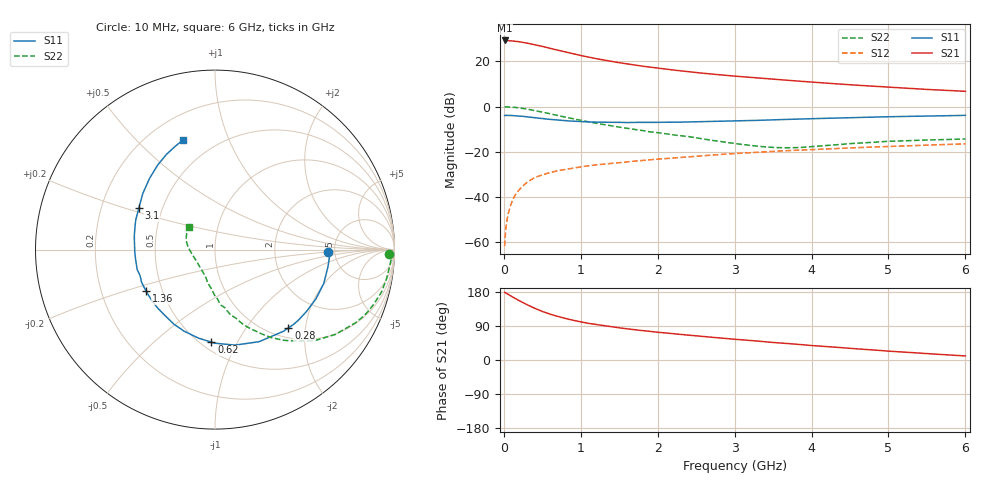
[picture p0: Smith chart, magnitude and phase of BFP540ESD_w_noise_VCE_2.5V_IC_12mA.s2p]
! Infineon Technologies  Discrete & RF Semiconductors
! BFP540ESD
! VCE =  2.5 V,  IC =  12 mA
! Common Emitter S-Parameters:  Nov 2015
# GHz  S  MA  R  50
!  f  S11  S21  S12  S22
! GHz  MAG  ANG  MAG  ANG  MAG  ANG  MAG  ANG
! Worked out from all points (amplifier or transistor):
!   210 points, 10 MHz to 6 GHz, reference 50 ohm
!   highest |S21| = 29.3 dB at 10 MHz (marker M1)
!   |S21| within 3 dB of that: start of sweep to 541.9 MHz
!   unconditionally stable (mu >= 1): 2.555 GHz to end of sweep
!   at 185 MHz: K = 0.12, MSG = 33.2 dB, |S12| = -37.5 dB
!   at 1.52 GHz: K = 0.78, MSG = 22.1 dB, |S12| = -24.8 dB
!   at 6 GHz: K = 1.14, MAG = 9.4 dB, |S12| = -16.5 dB
!   lowest NFmin = 0.93 dB at 900 MHz
!   S11 on the Smith chart (normalised r, x): 10 MHz: 4.42, -0.23; 280 MHz: 1.19, -1.62; 620 MHz: 0.56, -0.79; 1.36 GHz: 0.41, -0.24; 3.1 GHz: 0.37, +0.22; 6 GHz: 0.34, +0.70
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0.01  0.6321 -1.4  29.29 178.3  0.0008 94.7  0.9682 -1.4
0.04  0.637 -7.0  29.02 175.0  0.003 88.1  0.9818 -3.7
0.1  0.6348 -17.3  28.67 168.0  0.0073 81.2  0.9696 -9.6
0.15  0.6258 -26.0  28.18 162.2  0.0111 79.7  0.9573 -14.3
0.2  0.6153 -34.2  27.42 156.5  0.0142 77.8  0.9353 -19.0
0.28  0.5982 -46.8  26 148.1  0.0194 72.3  0.8936 -25.9
0.3  0.5939 -50.0  25.67 146.0  0.0208 71.1  0.882 -27.6
0.4  0.5689 -64.4  23.61 136.6  0.0266 66.3  0.8203 -35.2
0.5  0.5437 -78.2  21.64 128.1  0.0305 62.0  0.7546 -42.1
0.62  0.5161 -92.2  19.2 119.9  0.0349 58.4  0.6799 -48.6
0.8  0.4861 -110.7  16.21 109.4  0.0404 54.8  0.582 -57.4
0.9  0.4743 -118.9  14.78 104.7  0.0429 52.8  0.536 -61.1
1.02  0.4603 -128.0  13.35 99.9  0.0466 51.9  0.4874 -65.3
1.16  0.4536 -137.9  11.93 94.8  0.0499 49.8  0.4395 -69.8
1.36  0.4481 -148.9  10.34 88.7  0.0542 48.5  0.3829 -75.2
1.68  0.4461 -164.6  8.444 80.3  0.0611 46.9  0.3141 -83.3
2.02  0.4469 -177.4  7.046 72.9  0.0686 45.7  0.2615 -89.7
2.6  0.4635 164.4  5.465 61.8  0.0818 42.8  0.189 -102.8
3.1  0.4829 151.6  4.59 53.2  0.0928 39.8  0.1444 -117.1
4.1  0.544 130.8  3.398 36.8  0.1129 32.3  0.1323 -171.0
5.1  0.5989 115.9  2.637 22.2  0.1321 24.8  0.1715 159.5
6  0.6379 106.0  2.18 10.7  0.1492 18.8  0.191 139.8
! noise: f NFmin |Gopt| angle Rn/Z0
0.9  0.93  0.16  -133  0.11
1.8  1.11  0.2  -149  0.1
2.4  1.12  0.2  -146  0.1
3  1.24  0.25  -142  0.11
4  1.35  0.38  -110  0.17
5  1.51  0.47  -91  0.3
6  1.78  0.53  -92  0.49
